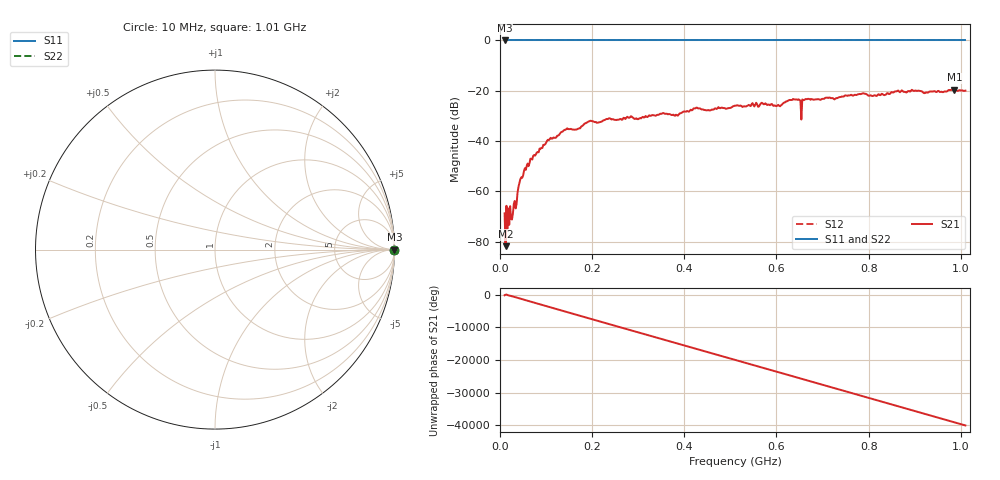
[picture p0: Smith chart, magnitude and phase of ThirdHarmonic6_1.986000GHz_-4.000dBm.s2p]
! 8/16/2025 11:52:23 PM
! C:\ANRITSUVNA\TEMP\TEMP.S2P
! CHANNEL.1
! TR.MEASUREMENT
! RAW.DATA
! RF.CORRECTION.OFF
! AVERAGING.OFF
! IF.BANDWIDTH: 5KHZ
! SWEEPTYPE:  FREQ.SWEEP(Linear)
! Reference Plane Port Info
! PORT:  PORT1  PORT2
! DISTANCE:  0  m  0  m
! TIME:  0  s  0  s
! PHASE.OFFSET:  0  deg.  0  deg.
! LOSS:  0  dB  0  dB
! REF.LOSS:  0  dB  0  dB
! REF.FREQ:  0  Hz  0  Hz
! Power Info
! POWER:  -20  dBm  -20  dBm
! EFF.POWER:  -20  dBm  -20  dBm
! SOURCE.ATTEN:  0  dB  0  dB
! TEST.ATTEN:  0  dB  0  dB
# GHZ S RI R 50.0
! FREQ.GHZ  S11RE  S11IM  S21RE  S21IM  S12RE  S12IM  S22RE  S22IM
!; PortSelection: Port_12
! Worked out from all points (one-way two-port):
!   501 points, 10 MHz to 1.01 GHz, reference 50 ohm
!   highest |S21| = -19.60 dB at 986 MHz (marker M1); lowest = -81.8 dB at 12 MHz (marker M2)
!   lowest |S11| = 0.0 dB at 10 MHz (marker M3)
!   |S11| at or under -10 dB: nowhere
!   |S22| runs from 0.0 to 0.0 dB; largest |S21 - S12| = 1.1
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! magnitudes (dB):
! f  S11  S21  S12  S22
! 10 MHz  0.0  -68.7  0.0  0.0
! 12 MHz  0.0  -81.8  0.0  0.0
! 16 MHz  0.0  -74.9  0.0  0.0
! 18 MHz  0.0  -66.8  0.0  0.0
! 24 MHz  0.0  -70.9  0.0  0.0
! 32 MHz  0.0  -63.8  0.0  0.0
! 44 MHz  0.0  -55.3  0.0  0.0
! 70 MHz  0.0  -47.4  0.0  0.0
! 106 MHz  0.0  -39.7  0.0  0.0
! 142 MHz  0.0  -35.5  0.0  0.0
! 178 MHz  0.0  -34.1  0.0  0.0
! 196 MHz  0.0  -31.9  0.0  0.0
! 344 MHz  0.0  -29.6  0.0  0.0
! 510 MHz  0.0  -25.9  0.0  0.0
! 604 MHz  0.0  -25.6  0.0  0.0
! 640 MHz  0.0  -23.5  0.0  0.0
! 656 MHz  0.0  -23.5  0.0  0.0
! 660 MHz  0.0  -23.7  0.0  0.0
! 678 MHz  0.0  -23.4  0.0  0.0
! 844 MHz  0.0  -21.3  0.0  0.0
! 986 MHz  0.0  -19.6  0.0  0.0
! 1.01 GHz  0.0  -20.0  0.0  0.0
